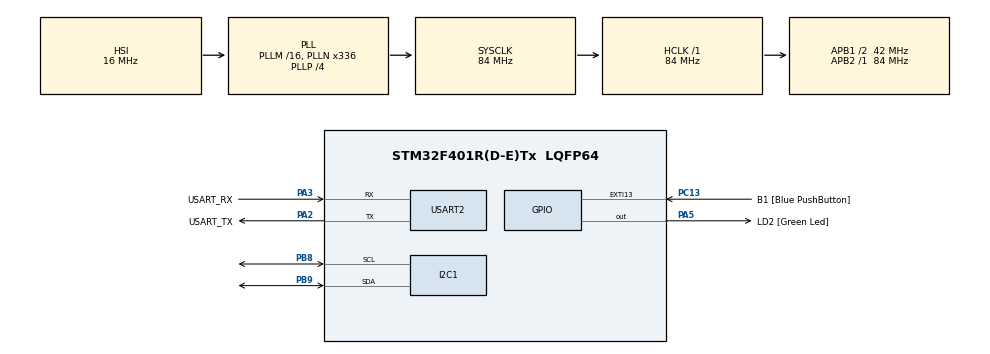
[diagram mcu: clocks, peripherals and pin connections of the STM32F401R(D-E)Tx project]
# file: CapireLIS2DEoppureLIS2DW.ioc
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Mcu.Family=STM32F4
Mcu.Name=STM32F401R(D-E)Tx
Mcu.Package=LQFP64
NVIC.PriorityGroup=NVIC_PRIORITYGROUP_4
PA13.GPIO_Label=TMS
PA13.Mode=Trace_Asynchronous_SW
PA13.Signal=SYS_JTMS-SWDIO
PA14.GPIO_Label=TCK
PA14.Mode=Trace_Asynchronous_SW
PA14.Signal=SYS_JTCK-SWCLK
PA2.GPIO_Label=USART_TX
PA2.GPIO_Mode=GPIO_MODE_AF_PP
PA2.GPIO_PuPd=GPIO_NOPULL
PA2.GPIO_Speed=GPIO_SPEED_FREQ_LOW
PA2.Mode=Asynchronous
PA2.Signal=USART2_TX
PA3.GPIO_Label=USART_RX
PA3.GPIO_Mode=GPIO_MODE_AF_PP
PA3.GPIO_PuPd=GPIO_NOPULL
PA3.GPIO_Speed=GPIO_SPEED_FREQ_LOW
PA3.Mode=Asynchronous
PA3.Signal=USART2_RX
PA5.GPIO_Label=LD2 [Green Led]
PA5.GPIO_Mode=GPIO_MODE_OUTPUT_PP
PA5.GPIO_PuPd=GPIO_NOPULL
PA5.GPIO_Speed=GPIO_SPEED_FREQ_LOW
PA5.Signal=GPIO_Output
PB3.GPIO_Label=SWO
PB3.Mode=Trace_Asynchronous_SW
PB3.Signal=SYS_JTDO-SWO
PB8.Mode=I2C
PB8.Signal=I2C1_SCL
PB9.Mode=I2C
PB9.Signal=I2C1_SDA
PC13-ANTI_TAMP.GPIO_Label=B1 [Blue PushButton]
PC13-ANTI_TAMP.GPIO_ModeDefaultEXTI=GPIO_MODE_IT_FALLING
PC13-ANTI_TAMP.GPIO_PuPd=GPIO_NOPULL
PC13-ANTI_TAMP.Signal=GPXTI13
PC14-OSC32_IN.Mode=LSE-External-Oscillator
PC14-OSC32_IN.Signal=RCC_OSC32_IN
PC15-OSC32_OUT.Mode=LSE-External-Oscillator
PC15-OSC32_OUT.Signal=RCC_OSC32_OUT
PH0\ -\ OSC_IN.Mode=HSE-External-Clock-Source
PH0\ -\ OSC_IN.Signal=RCC_OSC_IN
PH1\ -\ OSC_OUT.Mode=HSE-External-Clock-Source
PH1\ -\ OSC_OUT.Signal=RCC_OSC_OUT
ProjectManager.HeapSize=0x200
ProjectManager.StackSize=0x400
ProjectManager.TargetToolchain=STM32CubeIDE
RCC.48MHZClocksFreq_Value=48000000
RCC.AHBFreq_Value=84000000
RCC.APB1CLKDivider=RCC_HCLK_DIV2
RCC.APB1Freq_Value=42000000
RCC.APB1TimFreq_Value=84000000
RCC.APB2Freq_Value=84000000
RCC.APB2TimFreq_Value=84000000
RCC.CortexFreq_Value=84000000
RCC.HCLKFreq_Value=84000000
RCC.HSE_VALUE=8000000
RCC.HSI_VALUE=16000000
RCC.PLLN=336
RCC.PLLP=RCC_PLLP_DIV4
RCC.PLLQ=7
RCC.SYSCLKFreq_VALUE=84000000
RCC.SYSCLKSource=RCC_SYSCLKSOURCE_PLLCLK
RCC.VCOOutputFreq_Value=336000000
USART2.VirtualMode=VM_ASYNC
board=NUCLEO-F401RE

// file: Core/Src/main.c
/* USER CODE BEGIN Header */
/**
  ******************************************************************************
  * @file           : main.c
  * @brief          : Main program body
  ******************************************************************************
  * @attention
  *
  * Copyright (c) 2026 STMicroelectronics.
  * All rights reserved.
  *
  * This software is licensed under terms that can be found in the LICENSE file
  * in the root directory of this software component.
  * If no LICENSE file comes with this software, it is provided AS-IS.
  *
  ******************************************************************************
  */
/* USER CODE END Header */
#include "main.h"

/* USER CODE BEGIN Includes */
#include "stdio.h"
#include "string.h"
/* USER CODE END Includes */

/* USER CODE BEGIN PD */
#define LIS2DE_ADDR (0b0101000 << 1)
#define LIS2DW_ADDR (0b0011000 << 1)
#define WHO_AM_I (0x0F)
#define LIS2DE_ID (0x33)
#define LIS2DW_ID (0x44)
/* USER CODE END PD */

I2C_HandleTypeDef hi2c1;

UART_HandleTypeDef huart2;

/* USER CODE BEGIN PV */

HAL_StatusTypeDef st_de, st_dw;

/* USER CODE END PV */

void SystemClock_Config(void);
static void MX_GPIO_Init(void);
static void MX_USART2_UART_Init(void);
static void MX_I2C1_Init(void);

/* USER CODE BEGIN 0 */
void AccelerometerIdentitySearch(void){
	uint8_t buffer[2];
	char message[100];
	int n;

	// Leggiamo i due registri
	  st_de = HAL_I2C_Mem_Read(&hi2c1, LIS2DE_ADDR, WHO_AM_I, I2C_MEMADD_SIZE_8BIT, &buffer[0], 1, HAL_MAX_DELAY);
	  st_dw = HAL_I2C_Mem_Read(&hi2c1, LIS2DW_ADDR, WHO_AM_I, I2C_MEMADD_SIZE_8BIT, &buffer[1], 1, HAL_MAX_DELAY);

	  if(st_de == HAL_OK && buffer[0]==LIS2DE_ID){
		  // è un LIS2DE
		  n = sprintf(message, "WHO_AM_I=0x%02X, è un LIS2DE \r\n", buffer[0]);
		  HAL_UART_Transmit(&huart2, (uint8_t*)message, n, HAL_MAX_DELAY);

	  } else if(st_dw == HAL_OK && buffer[1]==LIS2DW_ID){
		  // è un LIS2DW
		  n = sprintf(message, "WHO_AM_I=0x%02X, è un LIS2DW \r\n", buffer[1]);
		  HAL_UART_Transmit(&huart2, (uint8_t*)message, n, HAL_MAX_DELAY);
	  } else{
		  // Errore
		  n = sprintf(message, "Errore \r\n");
		  HAL_UART_Transmit(&huart2, (uint8_t*)message, n, HAL_MAX_DELAY);
	  }

}
/* USER CODE END 0 */

int main(void)
{

  /* MCU Configuration--------------------------------------------------------*/

  /* Reset of all peripherals, Initializes the Flash interface and the Systick. */
  HAL_Init();

  /* Configure the system clock */
  SystemClock_Config();

  /* Initialize all configured peripherals */
  MX_GPIO_Init();
  MX_USART2_UART_Init();
  MX_I2C1_Init();
  /* USER CODE BEGIN 2 */

  AccelerometerIdentitySearch();

  /* USER CODE END 2 */

  /* Infinite loop */
  while (1)
  {

  }
}

void SystemClock_Config(void)
{
  RCC_OscInitTypeDef RCC_OscInitStruct = {0};
  RCC_ClkInitTypeDef RCC_ClkInitStruct = {0};

  /** Configure the main internal regulator output voltage
  */
  __HAL_RCC_PWR_CLK_ENABLE();
  __HAL_PWR_VOLTAGESCALING_CONFIG(PWR_REGULATOR_VOLTAGE_SCALE2);

  /** Initializes the RCC Oscillators according to the specified parameters
  * in the RCC_OscInitTypeDef structure.
  */
  RCC_OscInitStruct.OscillatorType = RCC_OSCILLATORTYPE_HSI;
  RCC_OscInitStruct.HSIState = RCC_HSI_ON;
  RCC_OscInitStruct.HSICalibrationValue = RCC_HSICALIBRATION_DEFAULT;
  RCC_OscInitStruct.PLL.PLLState = RCC_PLL_ON;
  RCC_OscInitStruct.PLL.PLLSource = RCC_PLLSOURCE_HSI;
  RCC_OscInitStruct.PLL.PLLM = 16;
  RCC_OscInitStruct.PLL.PLLN = 336;
  RCC_OscInitStruct.PLL.PLLP = RCC_PLLP_DIV4;
  RCC_OscInitStruct.PLL.PLLQ = 7;
  if (HAL_RCC_OscConfig(&RCC_OscInitStruct) != HAL_OK)
  {
    Error_Handler();
  }

  /** Initializes the CPU, AHB and APB buses clocks
  */
  RCC_ClkInitStruct.ClockType = RCC_CLOCKTYPE_HCLK|RCC_CLOCKTYPE_SYSCLK
                              |RCC_CLOCKTYPE_PCLK1|RCC_CLOCKTYPE_PCLK2;
  RCC_ClkInitStruct.SYSCLKSource = RCC_SYSCLKSOURCE_PLLCLK;
  RCC_ClkInitStruct.AHBCLKDivider = RCC_SYSCLK_DIV1;
  RCC_ClkInitStruct.APB1CLKDivider = RCC_HCLK_DIV2;
  RCC_ClkInitStruct.APB2CLKDivider = RCC_HCLK_DIV1;

  if (HAL_RCC_ClockConfig(&RCC_ClkInitStruct, FLASH_LATENCY_2) != HAL_OK)
  {
    Error_Handler();
  }
}

static void MX_I2C1_Init(void)
{

  hi2c1.Instance = I2C1;
  hi2c1.Init.ClockSpeed = 100000;
  hi2c1.Init.DutyCycle = I2C_DUTYCYCLE_2;
  hi2c1.Init.OwnAddress1 = 0;
  hi2c1.Init.AddressingMode = I2C_ADDRESSINGMODE_7BIT;
  hi2c1.Init.DualAddressMode = I2C_DUALADDRESS_DISABLE;
  hi2c1.Init.OwnAddress2 = 0;
  hi2c1.Init.GeneralCallMode = I2C_GENERALCALL_DISABLE;
  hi2c1.Init.NoStretchMode = I2C_NOSTRETCH_DISABLE;
  if (HAL_I2C_Init(&hi2c1) != HAL_OK)
  {
    Error_Handler();
  }

}

static void MX_USART2_UART_Init(void)
{

  huart2.Instance = USART2;
  huart2.Init.BaudRate = 115200;
  huart2.Init.WordLength = UART_WORDLENGTH_8B;
  huart2.Init.StopBits = UART_STOPBITS_1;
  huart2.Init.Parity = UART_PARITY_NONE;
  huart2.Init.Mode = UART_MODE_TX_RX;
  huart2.Init.HwFlowCtl = UART_HWCONTROL_NONE;
  huart2.Init.OverSampling = UART_OVERSAMPLING_16;
  if (HAL_UART_Init(&huart2) != HAL_OK)
  {
    Error_Handler();
  }

}

static void MX_GPIO_Init(void)
{
  GPIO_InitTypeDef GPIO_InitStruct = {0};

  /* GPIO Ports Clock Enable */
  __HAL_RCC_GPIOC_CLK_ENABLE();
  __HAL_RCC_GPIOH_CLK_ENABLE();
  __HAL_RCC_GPIOA_CLK_ENABLE();
  __HAL_RCC_GPIOB_CLK_ENABLE();

  /*Configure GPIO pin Output Level */
  HAL_GPIO_WritePin(LD2_GPIO_Port, LD2_Pin, GPIO_PIN_RESET);

  /*Configure GPIO pin : B1_Pin */
  GPIO_InitStruct.Pin = B1_Pin;
  GPIO_InitStruct.Mode = GPIO_MODE_IT_FALLING;
  GPIO_InitStruct.Pull = GPIO_NOPULL;
  HAL_GPIO_Init(B1_GPIO_Port, &GPIO_InitStruct);

  /*Configure GPIO pin : LD2_Pin */
  GPIO_InitStruct.Pin = LD2_Pin;
  GPIO_InitStruct.Mode = GPIO_MODE_OUTPUT_PP;
  GPIO_InitStruct.Pull = GPIO_NOPULL;
  GPIO_InitStruct.Speed = GPIO_SPEED_FREQ_LOW;
  HAL_GPIO_Init(LD2_GPIO_Port, &GPIO_InitStruct);

}

void Error_Handler(void)
{
  __disable_irq();
  while (1)
  {
  }
}
